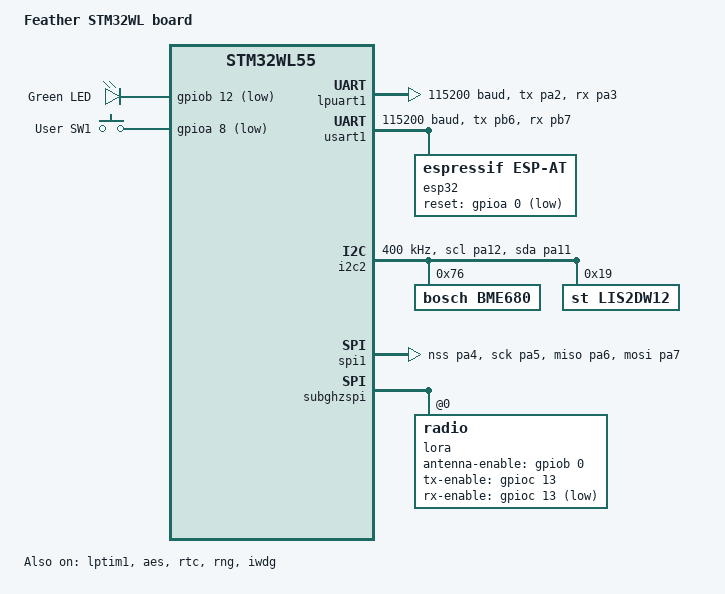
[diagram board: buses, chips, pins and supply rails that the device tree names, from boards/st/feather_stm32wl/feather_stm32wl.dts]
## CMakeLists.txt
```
cmake_minimum_required(VERSION 3.20.0)

find_package(Zephyr REQUIRED HINTS $ENV{ZEPHYR_BASE})
project(pico_lora)

# Specify the directory containing the source files
set(SOURCE_DIR "src")

set(SOURCES
    "${SOURCE_DIR}/main.c"
    "${SOURCE_DIR}/led.c"
    "${SOURCE_DIR}/lora.c"
    "${SOURCE_DIR}/mesh.c"
    "${SOURCE_DIR}/mesh_handlers.c"
    "${SOURCE_DIR}/mesh_utils.c"
    "${SOURCE_DIR}/packet.c"
    "${SOURCE_DIR}/ring_buffer.c"
    "${SOURCE_DIR}/sensor.c"
    "${SOURCE_DIR}/work_queue.c"
)

zephyr_include_directories(include)

target_sources(app PRIVATE ${SOURCES})
```

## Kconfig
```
# Kconfig for Application-Specific Settings

menu "Application Settings"

menu "LoRa Radio Configuration"

source "Kconfig.zephyr"

config APP_LORA_FREQUENCY
    int "LoRa Frequency (Hz)"
    default 915000000
    help
      Center frequency for LoRa communication in Hz.
      Common values: 915000000 (US), 868000000 (EU), 433000000.

config APP_LORA_BANDWIDTH
    int "LoRa Bandwidth"
    default 0 # BW_125_KHZ
    range 0 9
    help
      LoRa signal bandwidth. Refer to LoRa driver definitions:
      0: BW_125_KHZ, 1: BW_250_KHZ, 2: BW_500_KHZ, etc.
      (Check exact mapping in lorawan_radio.h or similar)

config APP_LORA_SPREADING_FACTOR
    int "LoRa Spreading Factor"
    default 7 # SF_7
    range 5 12
    help
      LoRa spreading factor (SF5 to SF12).
      Higher SF means longer range but lower data rate.
      (Check exact mapping for defines like SF_7 in LoRa driver)

config APP_LORA_CODING_RATE
    int "LoRa Coding Rate"
    default 1 # CR_4_5
    range 1 4
    help
      LoRa coding rate.
      1: CR_4_5, 2: CR_4_6, 3: CR_4_7, 4: CR_4_8.

config APP_LORA_PREAMBLE_LEN
    int "LoRa Preamble Length"
    default 8
    help
      Length of the LoRa preamble.

config APP_LORA_TX_POWER
    int "LoRa Transmit Power (dBm)"
    default 14 # Max for many modules, adjust as per hardware/regulations
    help
      Transmit power in dBm. Check hardware datasheet for valid range.
      A common default for SX127x is 14. 20 is often an absolute max.

config APP_LORA_IQ_INVERTED
    bool "LoRa IQ Inverted"
    default false
    help
      Set to true if IQ signals are inverted.

config APP_LORA_PUBLIC_NETWORK
    bool "LoRa Public Network"
    default false
    help
      Set to true if using a public LoRaWAN network (sync word).

endmenu # LoRa Radio Configuration

# Add other application Kconfig options here later (e.g., Mesh, Buffers)

endmenu # Application Settings
```

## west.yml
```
manifest:
  projects:
    - name: zephyr
      revision: v4.2.1
      url: https://github.com/zephyrproject-rtos/zephyr
      import:
        path-prefix: deps
        file: west.yml
        name-allowlist:
          - cmsis_6
          - hal_rpi_pico
          - hal_stm32
          - loramac-node
          - zcbor
```

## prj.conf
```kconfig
CONFIG_GPIO=y
CONFIG_I2C=y
CONFIG_SENSOR=y
CONFIG_LORA=y
CONFIG_SPI=y

CONFIG_LOG=y
CONFIG_LOG_PRINTK=y

CONFIG_RING_BUFFER=y
CONFIG_CBPRINTF_FP_SUPPORT=y

# Increase main thread stack size
CONFIG_MAIN_STACK_SIZE=4096

# Increase system workqueue stack size
CONFIG_SYSTEM_WORKQUEUE_STACK_SIZE=2048

# Application-specific LoRa Settings (defaults from Kconfig)
CONFIG_APP_LORA_FREQUENCY=915000000
CONFIG_APP_LORA_BANDWIDTH=0
CONFIG_APP_LORA_SPREADING_FACTOR=7
CONFIG_APP_LORA_CODING_RATE=1
CONFIG_APP_LORA_PREAMBLE_LEN=8
CONFIG_APP_LORA_TX_POWER=14
CONFIG_APP_LORA_IQ_INVERTED=n
CONFIG_APP_LORA_PUBLIC_NETWORK=n

CONFIG_HWINFO=y
```

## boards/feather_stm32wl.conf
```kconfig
CONFIG_SERIAL=y

#CONFIG_WIFI=y
#CONFIG_NETWORKING=y
#CONFIG_MAIN_STACK_SIZE=2048
#CONFIG_NET_TX_STACK_SIZE=1024
#CONFIG_NET_RX_STACK_SIZE=1024
#CONFIG_NET_PKT_RX_COUNT=4
#CONFIG_NET_PKT_TX_COUNT=4
#CONFIG_NET_BUF_RX_COUNT=8
#CONFIG_NET_BUF_TX_COUNT=8
#CONFIG_NET_MAX_CONTEXTS=2
#CONFIG_HTTP_CLIENT=y
#CONFIG_NET_DHCPV4=y
#CONFIG_NET_IPV4=y
#CONFIG_NET_IPV6=n
#CONFIG_NET_TCP=y
#CONFIG_NET_LOG=y              # Turn off for more RAM
#CONFIG_NET_SOCKETS=y
#CONFIG_INIT_STACKS=n          # Turn on only for debugging
#CONFIG_NET_MGMT_EVENT_QUEUE_TIMEOUT=5000
#CONFIG_NET_MGMT_EVENT_QUEUE_SIZE=4
```

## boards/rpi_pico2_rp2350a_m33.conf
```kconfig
CONFIG_USB_DEVICE_STACK=y
CONFIG_USB_CDC_ACM=y
CONFIG_USB_DEVICE_VID=0x2FE4
CONFIG_USB_DEVICE_PID=0x0110
CONFIG_USB_DEVICE_INITIALIZE_AT_BOOT=y
```

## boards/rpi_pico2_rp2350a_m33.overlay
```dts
/ {
	chosen {
        zephyr,console = &cdc_acm_uart0;
		zephyr,console-uart = &cdc_acm_uart0;
		zephyr,shell-uart = &cdc_acm_uart0;
	};
	aliases {
		lora0 = &lora;
	};
};

&spi0 {
	status = "okay";

	cs-gpios = <&gpio0 9 GPIO_ACTIVE_LOW>;
	lora: radio@0 {
		reg = <0>;
		compatible = "semtech,sx1276";
		reset-gpios = <&gpio0 10 GPIO_ACTIVE_LOW>;
		dio-gpios = <&gpio0 7 (GPIO_PULL_DOWN | GPIO_ACTIVE_HIGH)>;
		spi-max-frequency = <10000000>;
		power-amplifier-output = "pa-boost";
	};
};

&zephyr_udc0 {
	cdc_acm_uart0: cdc_acm_uart0 {
		compatible = "zephyr,cdc-acm-uart";
	};
};
```

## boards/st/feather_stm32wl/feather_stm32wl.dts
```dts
/*
 * Copyright (c) 2021 PureEngineering, LLC
 *
 */

/dts-v1/;
#include <st/wl/stm32wl55Xc.dtsi>
#include <st/wl/stm32wl55ccux-pinctrl.dtsi>
#include <zephyr/dt-bindings/input/input-event-codes.h>
#include <zephyr/dt-bindings/led/led.h>

/ {
	model = "Feather STM32WL board";
	compatible = "st,stm32wl55-nucleo";

	chosen {
		zephyr,console = &lpuart1;
		zephyr,shell-uart = &lpuart1;
		zephyr,sram = &sram0;
		zephyr,flash = &flash0;
		zephyr,code-partition = &slot0_partition;
	};

	aliases {
		led0 = &led0;
		mcuboot-button0 = &button1;
		mcuboot-led0 = &led0;
		lora0 = &lora;
		uart0 = &usart1;
	};

	leds {
		compatible = "gpio-leds";
		led0: led_0 {
			gpios = <&gpiob 12 GPIO_ACTIVE_LOW>;
			label = "Green LED";
		};
	};

	buttons {
		compatible = "gpio-keys";
		button1: button_1 {
			label = "User SW1";
			gpios = <&gpioa 8 (GPIO_PULL_UP | GPIO_ACTIVE_LOW)>;
			zephyr,code = <INPUT_KEY_0>;
		};
	};
};

&cpu0 {
	cpu-power-states = <&stop0 &stop1 &stop2>;
};

&clk_lsi {
	status = "okay";
};

stm32_lp_tick_source: &lptim1 {
	clocks = <&rcc STM32_CLOCK_BUS_APB1 0x80000000>,
			 <&rcc STM32_SRC_LSI LPTIM1_SEL(1)>;
	status = "okay";
};

&clk_lse {
	status = "okay";
};

&clk_hsi {
	status = "okay";
};

&pll {
	div-m = <1>;
	mul-n = <6>;
	div-r = <2>;
	div-q = <2>;
	clocks = <&clk_hsi>;
	status = "okay";
};

&rcc {
	clocks = <&pll>;
	clock-frequency = <DT_FREQ_M(48)>;
	cpu1-prescaler = <1>;
	cpu2-prescaler = <1>;
	ahb3-prescaler = <1>;
	apb1-prescaler = <1>;
	apb2-prescaler = <1>;
};

&lpuart1 {
	pinctrl-0 = <&lpuart1_tx_pa2 &lpuart1_rx_pa3>;
	pinctrl-names = "default";
	current-speed = <115200>;
	status = "okay";
};

&usart1 {
	pinctrl-0 = <&usart1_tx_pb6 &usart1_rx_pb7>;
	pinctrl-names = "default";
	current-speed = <115200>;
	status = "okay";

    esp32 {
        compatible = "espressif,esp-at";
        reset-gpios = <&gpioa 0 GPIO_ACTIVE_LOW>;
        status = "okay";
    };
};

&i2c2 {
	pinctrl-0 = <&i2c2_scl_pa12 &i2c2_sda_pa11>;
	pinctrl-names = "default";
	status = "okay";
	clock-frequency = <I2C_BITRATE_FAST>;

	bme680: bme680@76 {
		compatible = "bosch,bme680";
		reg = <0x76>;
		label = "BME680";
		status = "okay";
	};
	lis2dw12: lis2dw12@19 {
		compatible = "st,lis2dw12";
		reg = <0x19>;
		label = "LIS2DW12";
		status = "okay";
	};

};

&spi1 {
	pinctrl-0 = <&spi1_nss_pa4 &spi1_sck_pa5
		     &spi1_miso_pa6 &spi1_mosi_pa7>;
	pinctrl-names = "default";
	status = "okay";
};

// &adc1 {
// 	status = "okay";
// };

// &die_temp {
// 	status = "okay";
// };

&aes {
	status = "okay";
};

&rtc {
	clocks = <&rcc STM32_CLOCK_BUS_APB1 0x00000400>,
			 <&rcc STM32_SRC_LSE RTC_SEL(1)>;
	status = "okay";
};

&rng {
	status = "okay";
};

&iwdg {
	status = "okay";
};

&subghzspi {
	status = "okay";
	lora: radio@0 {
		status = "okay";
		antenna-enable-gpios = <&gpiob 0 GPIO_ACTIVE_HIGH>;
		tx-enable-gpios = <&gpioc 13 GPIO_ACTIVE_HIGH>;
		rx-enable-gpios = <&gpioc 13 GPIO_ACTIVE_LOW>;
		power-amplifier-output = "rfo-hp";
		rfo-lp-max-power = <14>;
		rfo-hp-max-power = <22>;
		// dio3-tcxo-voltage = <SX126X_DIO3_TCXO_1V7>;
		// tcxo-power-startup-delay-ms = <5>;
	};
};

&flash0 {
	/*
	 * For more information, see:
	 * http://docs.zephyrproject.org/latest/guides/dts/index.html#flash-partitions
	 */
	partitions {
		compatible = "fixed-partitions";
		#address-cells = <1>;
		#size-cells = <1>;

		/* Reserve 64kB for the bootloader */
		boot_partition: partition@0 {
			label = "mcuboot";
			reg = <0x00000000 DT_SIZE_K(48)>;
		};

		slot0_partition: partition@c000 {
			label = "image-0";
			reg = <0x0000C000 DT_SIZE_K(96)>;
		};

		slot1_partition: partition@24000 {
			label = "image-1";
			reg = <0x00024000 DT_SIZE_K(96)>;
		};

		storage_partition: partition@3C000 {
			label = "storage";
			reg = <0x0003C000 DT_SIZE_K(16)>;
		};
	};
};
```

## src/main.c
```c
/**
 * @file main.c
 * @brief Main application entry point for LoRa mesh network
 *
 * Initializes all subsystems and runs the main application loop
 * for sensor data collection and transmission.
 *
 * Copyright (c) 2024 Ryan Grachek
 */

#include <zephyr/kernel.h>
#include <zephyr/device.h>
#include <zephyr/sys/util.h>
 
#define LOG_LEVEL CONFIG_LOG_DEFAULT_LEVEL
#include <zephyr/logging/log.h>
LOG_MODULE_REGISTER(main);
 
#include <led.h>
#include <lora.h>
#include <mesh.h>
#include <packet.h>
#include <sensor.h>
#include <work_queue.h>
#include <zephyr/drivers/hwinfo.h>

/* External declaration for dynamic node address */
extern uint32_t node_address;

/**
 * @brief Application entry point
 *
 * Initializes all subsystems in the correct order.
 * Sensor broadcasting is handled by the work queue if sensors are detected.
 *
 * @return 0 on successful completion (should never return)
 */
int main(void)
{
    uint8_t device_id[8] = {0};

    LOG_INF("Welcome! %s", CONFIG_BOARD_TARGET);

    hwinfo_get_device_id(device_id, 8);

    /* Extract last 4 bytes of device ID for node address */
    node_address = (uint32_t)device_id[4] << 24 |
                   (uint32_t)device_id[5] << 16 |
                   (uint32_t)device_id[6] << 8  |
                   (uint32_t)device_id[7];
    
    /* Ensure node address is not zero (fallback for invalid device ID) */
    if (node_address == 0) {
        node_address = 1;
        LOG_WRN("Device ID produced zero node address, using fallback: 0x%08X", node_address);
    }
    
    LOG_INF("Node address: 0x%08X (from device ID last 4 bytes)", node_address);

    /* Initialize the consolidated work queue first */
    work_queue_init();
    LOG_INF("Work queue initialized");

    /* Initialize hardware and subsystems */
    int ret = led_init();
    if (ret != 0) {
        LOG_ERR("LED initialization failed: %d", ret);
        /* LED failure is not critical, continue */
    }
    
    /* Initialize sensors first to detect available hardware */
    sensor_init();
    
    /* Check if any sensors were detected */
    int sensor_available = sensor_count();
    if (sensor_available == 0) {
        LOG_WRN("No sensors detected. Skipping sensor loop.");
    } else {
        LOG_INF("Detected %d sensors", sensor_available);
    }

    /* Initialize communication subsystems - these are critical */
    ret = packet_init();
    if (ret != 0) {
        LOG_ERR("Packet processing initialization failed: %d", ret);
        return ret;
    }
    
    ret = lora_init();
    if (ret != 0) {
        LOG_ERR("LoRa radio initialization failed: %d", ret);
        return ret;
    }
    
    mesh_init();
    LOG_INF("Mesh network initialized with adaptive reliability-based routing");

    /* All work is now handled by the work queue system.
     * Sensor broadcasting is automatically scheduled if sensors are detected.
     * The main thread can sleep indefinitely. */
    LOG_INF("Initialization complete. All tasks running on work queue.");
    k_sleep(K_FOREVER);

    /* Should never reach here */
    return 0;
}
```

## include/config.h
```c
/**
 * @file config.h
 * @brief Configuration constants for LoRa mesh network
 *
 * Centralized configuration to eliminate magic numbers and improve
 * maintainability across the codebase.
 *
 * Copyright (c) 2024 Ryan Grachek
 */

#ifndef CONFIG_H
#define CONFIG_H

/* ========================================================================== */
/* MESH NETWORK CONFIGURATION                                                 */
/* ========================================================================== */

/** @brief Maximum number of neighbors that can be tracked */
#define MESH_MAX_NEIGHBORS 32

/** @brief Maximum number of routes that can be stored */
#define MESH_MAX_ROUTES 32

/** @brief Maximum number of pending packets waiting for acknowledgment */
#define MESH_MAX_PENDING_PACKETS 16

/** @brief Maximum time to live (TTL) for packets */
#define MESH_MAX_TTL 10

/** @brief Base time in milliseconds after which a neighbor is considered stale */
#define MESH_PRUNE_TIMEOUT_BASE_MS 60000

/** @brief Maximum time in milliseconds for neighbor pruning */
#define MESH_PRUNE_TIMEOUT_MAX_MS 120000

/** @brief Minimum time in milliseconds for neighbor pruning */
#define MESH_PRUNE_TIMEOUT_MIN_MS 30000

/** @brief RSSI threshold below which a neighbor is considered weak */
#define MESH_WEAK_NEIGHBOR_RSSI_THRESHOLD -100

/** @brief Factor to reduce pruning timeout for weak neighbors */
#define MESH_WEAK_NEIGHBOR_TIMEOUT_FACTOR 0.5f

/** @brief Factor to increase pruning timeout for strong neighbors */
#define MESH_STRONG_NEIGHBOR_TIMEOUT_FACTOR 1.5f

/* ========================================================================== */
/* DISCOVERY CONFIGURATION                                                    */
/* ========================================================================== */

/** @brief Base interval in seconds between neighbor discovery broadcasts */
#define MESH_DISCOVERY_INTERVAL_BASE_SEC 60

/** @brief Minimum interval in seconds between neighbor discovery broadcasts */
#define MESH_DISCOVERY_INTERVAL_MIN_SEC 30

/** @brief Maximum interval in seconds between neighbor discovery broadcasts */
#define MESH_DISCOVERY_INTERVAL_MAX_SEC 300

/** @brief Step size in seconds for increasing discovery interval */
#define MESH_DISCOVERY_INTERVAL_STEP_SEC 30

/** @brief Window in milliseconds to consider topology changes recent */
#define MESH_TOPOLOGY_CHANGE_WINDOW_MS 120000

/** @brief Initial delay in seconds before first discovery broadcast */
#define MESH_INITIAL_DISCOVERY_DELAY_SEC 10

/* ========================================================================== */
/* TIMING CONFIGURATION                                                       */
/* ========================================================================== */

/** @brief Interval in seconds between neighbor list display */
#define MESH_NEIGHBOR_LIST_INTERVAL_SEC 30

/** @brief Interval in seconds between neighbor list pruning */
#define MESH_PRUNE_INTERVAL_SEC 60

/** @brief Interval in seconds between route table pruning */
#define MESH_ROUTE_PRUNE_INTERVAL_SEC 120

/** @brief Interval in seconds between network statistics display */
#define MESH_STATS_DISPLAY_INTERVAL_SEC 60

/* ========================================================================== */
/* RELIABILITY CONFIGURATION                                                  */
/* ========================================================================== */

/** @brief Maximum number of retransmission attempts */
#define MESH_MAX_RETRANSMISSIONS 5

/** @brief Base timeout in milliseconds for acknowledgment */
#define MESH_ACK_TIMEOUT_BASE_MS 10000

/** @brief Maximum timeout in milliseconds for acknowledgment */
#define MESH_ACK_TIMEOUT_MAX_MS 30000

/** @brief Minimum timeout in milliseconds for acknowledgment */
#define MESH_ACK_TIMEOUT_MIN_MS 5000

/** @brief Interval in milliseconds between retransmission attempts */
#define MESH_RETRANSMISSION_INTERVAL_BASE_MS 1000

/** @brief Factor to increase timeout per hop count */
#define MESH_TIMEOUT_HOP_FACTOR_MS 500

/** @brief Time in milliseconds after which a route is considered stale */
#define MESH_ROUTE_TIMEOUT_MS 120000

/** @brief Hysteresis threshold for route quality changes to prevent flapping */
#define MESH_ROUTE_QUALITY_HYSTERESIS 5

/* ========================================================================== */
/* SENSOR CONFIGURATION                                                       */
/* ========================================================================== */

/** @brief Maximum number of sensors that can be registered */
#define SENSOR_MAX_DEVICES 5

/** @brief Maximum number of channels per sensor */
#define SENSOR_MAX_CHANNELS 6

/** @brief Maximum number of sensor readings in a single packet */
#define SENSOR_MAX_READINGS (SENSOR_MAX_DEVICES * SENSOR_MAX_CHANNELS)

/** @brief Interval in milliseconds between sensor data broadcasts */
#define SENSOR_BROADCAST_INTERVAL_MS 10000

/* ========================================================================== */
/* RADIO CONFIGURATION                                                        */
/* ========================================================================== */

/** @brief LED pulse duration in milliseconds for radio activity */
#define RADIO_LED_PULSE_DURATION_MS 50

/** @brief Delay in milliseconds for discovery replies to avoid collisions */
#define RADIO_DISCOVERY_REPLY_DELAY_BASE_MS 200

/** @brief Delay in milliseconds for ACK transmission to avoid collisions */
#define RADIO_ACK_DELAY_MS 50

/* ========================================================================== */
/* BUFFER CONFIGURATION                                                       */
/* ========================================================================== */

/** @brief Maximum number of packets to process in a single work item execution */
#define PACKET_MAX_BATCH_SIZE 5

/* ========================================================================== */
/* VALIDATION MACROS                                                          */
/* ========================================================================== */

/** @brief Validate that a pointer is not NULL */
#define VALIDATE_PTR(ptr) \
    do { if (!(ptr)) { LOG_ERR("NULL pointer: " #ptr); return -EINVAL; } } while(0)

/** @brief Validate that a value is within a specified range */
#define VALIDATE_RANGE(val, min, max) \
    do { if ((val) < (min) || (val) > (max)) { \
        LOG_ERR("Value out of range: " #val "=%d (expected %d-%d)", \
                (int)(val), (int)(min), (int)(max)); \
        return -EINVAL; \
    } } while(0)

/** @brief Validate that an address is not zero (invalid) */
#define VALIDATE_ADDRESS(addr) \
    do { if ((addr) == 0) { \
        LOG_ERR("Invalid address: " #addr "=0x%02X", (addr)); \
        return -EINVAL; \
    } } while(0)

/* ========================================================================== */
/* ERROR CODES                                                                */
/* ========================================================================== */

/** @brief Mesh-specific error codes */
typedef enum {
    MESH_OK = 0,                    /**< Operation successful */
    MESH_ERR_INVALID_PARAM = -1,    /**< Invalid parameter */
    MESH_ERR_NO_MEMORY = -2,        /**< Out of memory */
    MESH_ERR_NO_ROUTE = -3,         /**< No route to destination */
    MESH_ERR_TIMEOUT = -4,          /**< Operation timed out */
    MESH_ERR_BUFFER_FULL = -5,      /**< Buffer is full */
    MESH_ERR_NOT_FOUND = -6,        /**< Item not found */
    MESH_ERR_INVALID_STATE = -7     /**< Invalid state for operation */
} mesh_error_t;

#endif /* CONFIG_H */
```

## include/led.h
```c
/**
 * @file led.h
 * @brief LED control interface for activity indication
 *
 * This module provides functions to control an LED for indicating
 * system activity, such as packet transmission/reception.
 *
 * Copyright (c) 2024 Ryan Grachek
 */

#ifndef LED_H
#define LED_H
 
#include <zephyr/drivers/gpio.h>

/**
 * @brief Initialize the LED subsystem
 *
 * Configures the GPIO pin for the LED and initializes
 * the work item for delayed LED control.
 *
 * @return 0 on success, negative errno code on failure
 */
int led_init(void);

/**
 * @brief Toggle the LED state
 *
 * Switches the LED from on to off or off to on.
 */
void led_toggle(void);

/**
 * @brief Turn the LED on
 *
 * Turns the LED on and cancels any pending automatic off.
 */
void led_on(void);

/**
 * @brief Turn the LED off
 *
 * Turns the LED off and cancels any pending automatic off.
 */
void led_off(void);

/**
 * @brief Pulse the LED for the default duration
 *
 * Turns the LED on and schedules it to turn off after
 * the default pulse duration (typically 50ms).
 */
void led_pulse(void);

/**
 * @brief Pulse the LED for a specified duration
 *
 * Turns the LED on and schedules it to turn off after
 * the specified duration.
 *
 * @param ms Duration in milliseconds to keep the LED on
 */
void led_pulse_ms(uint32_t ms);
 
#endif /* LED_H */
```

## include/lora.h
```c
/**
 * @file lora.h
 * @brief LoRa radio interface for mesh network communication
 *
 * This module provides functions to initialize and control the LoRa radio
 * for transmitting and receiving packets in the mesh network.
 *
 * Copyright (c) 2024 Ryan Grachek
 */

#ifndef LORA_H
#define LORA_H
 
#include <zephyr/drivers/lora.h>
#include <zephyr/sys/atomic.h>
#include <packet.h>

// TX_POWER and SPREAD_FACTOR will now be sourced from Kconfig options
// (CONFIG_APP_LORA_TX_POWER and CONFIG_APP_LORA_SPREADING_FACTOR)
// and used directly in lora.c

/**
 * @brief Dynamic node address derived from device ID
 * 
 * The node address is dynamically generated from the last 4 bytes
 * of the device's unique hardware ID to ensure each device has
 * a unique address in the mesh network.
 */
extern uint32_t node_address;

/**
 * @brief Macro for backward compatibility
 * 
 * This macro allows existing code to continue using NODE_ADDRESS
 * while actually referencing the dynamic node_address variable.
 */
#define NODE_ADDRESS node_address

/**
 * @brief Counter for dropped packets due to buffer overflow
 */
extern atomic_t drop_pkt;

/**
 * @brief Initialize the LoRa radio
 *
 * Configures the LoRa radio with default settings and
 * sets up the work queue for asynchronous transmission.
 *
 * @return 0 on success, negative errno code on failure
 */
int lora_init(void);

/**
 * @brief Transmit a packet over LoRa
 *
 * Queues a packet for transmission over the LoRa radio.
 * The transmission is handled asynchronously by a work queue.
 *
 * @param buf Pointer to the packet buffer
 * @param size Size of the packet in bytes
 */
void lora_tx(uint8_t *buf, uint8_t size);

/**
 * @brief Configure the LoRa radio for TX or RX
 *
 * Sets the LoRa radio parameters for either transmission or reception.
 *
 * @param tx True for TX mode, false for RX mode
 * @return 0 on success, negative errno code on failure
 */
int lora_radio_config(bool tx);
 
#endif /* LORA_H */
```

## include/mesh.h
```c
/**
 * @file mesh.h
 * @brief Mesh network management for LoRa communication
 *
 * This module handles mesh network functionality including node discovery,
 * neighbor management, and routing of messages between nodes. Supports
 * multi-hop message routing and reliable delivery with adaptive timeouts
 * and reliability-based route selection.
 *
 * Copyright (c) 2024 Ryan Grachek
 */

#ifndef MESH_H
#define MESH_H
 
#include <stdint.h>

/**
 * @brief Initialize the mesh network module
 *
 * Sets up the necessary work items for periodic mesh operations
 * such as neighbor discovery, maintenance, and pruning.
 */
void mesh_init(void);

/**
 * @brief Process a received mesh packet
 *
 * Handles different types of mesh packets (discovery, reply, data, etc.)
 * and updates the neighbor list accordingly. Implements multi-hop routing
 * for packets that need to be forwarded.
 *
 * @param buf Pointer to the packet buffer (including header)
 */
void mesh_process(uint8_t *buf);

/**
 * @brief Send a data packet through the mesh network
 *
 * Sends a data packet to a destination node, using multi-hop routing
 * if the destination is not a direct neighbor.
 *
 * @param dst Final destination node address
 * @param data Pointer to the data to send
 * @param len Length of the data in bytes
 * @return 0 on success, negative errno code on failure
 */
int mesh_send_data(uint32_t dst, const uint8_t *data, size_t len);

/**
 * @brief Send a broadcast data packet through the mesh network
 *
 * Sends a broadcast data packet to all neighbors in a single transmission.
 * Each neighbor that receives the packet will send an ACK back to the source.
 * This is more efficient than sending individual packets to each neighbor.
 *
 * @param data Pointer to the data to send
 * @param len Length of the data in bytes
 * @return 0 on success, negative errno code on failure
 */
int mesh_send_broadcast(const uint8_t *data, size_t len);

/**
 * @brief Find the best next hop for a destination
 *
 * Determines the best next hop to reach a destination node
 * based on the current routing information, signal quality,
 * and neighbor reliability metrics. Routes are scored based
 * on a combination of signal strength, reliability, and hop count.
 *
 * @param dst Destination node address
 * @return Next hop node address, or 0 if no route is available
 */
uint32_t mesh_find_next_hop(uint32_t dst);

/**
 * @brief Send an acknowledgment for a received packet
 *
 * Sends an acknowledgment packet back to the source of a received packet.
 *
 * @param orig_src Original source of the packet to acknowledge
 * @param seq Sequence number of the packet to acknowledge
 */
void mesh_send_ack(uint32_t orig_src, uint8_t seq);

/**
 * @brief Add a new neighbor or update an existing one
 *
 * Adds a new node to the neighbor list or updates its information
 * if it already exists. For new neighbors, initializes reliability
 * metrics (packet count, failed count, and reliability score) used
 * for adaptive timeout calculation and route selection.
 *
 * @param address Node address to add or update
 * @param rssi Signal strength of the received packet
 * @return Pointer to the neighbor structure, or NULL if failed
 */
struct neighbor *add_or_update_neighbor(uint32_t address, int16_t rssi);

/**
 * @brief Update the last seen timestamp and reliability metrics for a neighbor
 *
 * Updates the last seen timestamp for an existing neighbor to prevent it
 * from being pruned during maintenance. Also updates packet count and
 * reliability metrics used for adaptive timeout calculation and route selection.
 *
 * @param address Node address to update
 * @param rssi Signal strength of the received packet
 */
void update_neighbor_last_seen(uint32_t address, int16_t rssi);

#endif /* MESH_H */
```

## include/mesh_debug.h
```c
/**
 * @file mesh_debug.h
 * @brief Debugging and monitoring tools for mesh network
 *
 * This module provides comprehensive debugging, monitoring, and
 * profiling capabilities for the mesh network system.
 *
 * Copyright (c) 2024 Ryan Grachek
 */

#ifndef MESH_DEBUG_H
#define MESH_DEBUG_H

#include <stdint.h>
#include <stdbool.h>
#include <packet.h>
#include <config.h>

/**
 * @brief Debug configuration flags
 */
#ifdef CONFIG_MESH_DEBUG
#define MESH_DEBUG_PACKET_TRACE 1
#define MESH_DEBUG_NEIGHBOR_CHANGES 1
#define MESH_DEBUG_ROUTE_CHANGES 1
#define MESH_DEBUG_PERFORMANCE_STATS 1
#else
#define MESH_DEBUG_PACKET_TRACE 0
#define MESH_DEBUG_NEIGHBOR_CHANGES 0
#define MESH_DEBUG_ROUTE_CHANGES 0
#define MESH_DEBUG_PERFORMANCE_STATS 0
#endif

/**
 * @brief Performance profiling structure
 */
typedef struct {
    /* Timing measurements */
    uint32_t packet_process_time_avg_us;  /**< Average packet processing time */
    uint32_t neighbor_lookup_time_avg_us; /**< Average neighbor lookup time */
    uint32_t route_lookup_time_avg_us;    /**< Average route lookup time */
    
    /* Memory usage */
    uint32_t neighbor_memory_used;        /**< Memory used by neighbor table */
    uint32_t route_memory_used;           /**< Memory used by routing table */
    uint32_t pending_memory_used;         /**< Memory used by pending packets */
    
    /* Performance counters */
    uint32_t neighbor_lookup_count;       /**< Number of neighbor lookups */
    uint32_t route_lookup_count;          /**< Number of route lookups */
    uint32_t packet_process_count;        /**< Number of packets processed */
    
    /* System health indicators */
    uint32_t mutex_contention_count;      /**< Number of mutex contentions */
    uint32_t memory_allocation_failures;  /**< Number of failed allocations */
    uint32_t work_queue_overruns;         /**< Number of work queue overruns */
} mesh_performance_t;

/**
 * @brief Initialize debugging and monitoring system
 */
void mesh_debug_init(void);

/**
 * @brief Dump neighbor table for debugging
 *
 * Prints detailed information about all neighbors including
 * signal quality, reliability metrics, and timing information.
 */
void debug_dump_neighbor_table(void);

/**
 * @brief Dump routing table for debugging
 *
 * Prints detailed information about all routes including
 * hop counts, quality metrics, and age information.
 */
void debug_dump_route_table(void);

/**
 * @brief Dump pending packet list for debugging
 *
 * Prints information about all pending packets waiting
 * for acknowledgment, including retry counts and timeouts.
 */
void debug_dump_pending_packets(void);

/**
 * @brief Trace packet flow through the system
 *
 * Logs packet movement through different stages of processing
 * for debugging network behavior.
 *
 * @param hdr Pointer to packet header
 * @param stage Description of processing stage
 */
void debug_trace_packet_flow(const hdr_t *hdr, const char *stage);

/**
 * @brief Log neighbor changes for debugging
 *
 * Tracks and logs neighbor additions, updates, and removals
 * to help debug network topology changes.
 *
 * @param address Neighbor address
 * @param action Description of the action (added, updated, removed)
 * @param rssi Signal strength
 */
void debug_log_neighbor_change(uint8_t address, const char *action, int16_t rssi);

/**
 * @brief Log route changes for debugging
 *
 * Tracks and logs route additions, updates, and removals
 * to help debug routing behavior.
 *
 * @param dst Destination address
 * @param next_hop Next hop address
 * @param action Description of the action
 * @param quality Route quality metric
 */
void debug_log_route_change(uint8_t dst, uint8_t next_hop, const char *action, int16_t quality);

/**
 * @brief Get current performance statistics
 *
 * Returns current performance metrics for monitoring
 * and optimization purposes.
 *
 * @param perf Pointer to performance structure to fill
 * @return 0 on success, negative error code on failure
 */
int debug_get_performance_stats(mesh_performance_t *perf);

/**
 * @brief Start timing measurement
 *
 * Begins timing measurement for performance profiling.
 * Use with debug_end_timing() to measure operation duration.
 *
 * @return Start timestamp
 */
static inline int64_t debug_start_timing(void) {
    return k_uptime_get();
}

/**
 * @brief End timing measurement and log result
 *
 * Ends timing measurement and logs the result if debugging is enabled.
 *
 * @param start_time Start timestamp from debug_start_timing()
 * @param operation_name Name of the operation being timed
 * @return Duration in microseconds
 */
uint32_t debug_end_timing(int64_t start_time, const char *operation_name);

/**
 * @brief Check system health and log warnings
 *
 * Monitors system health indicators and logs warnings
 * when thresholds are exceeded.
 */
void debug_check_system_health(void);

/**
 * @brief Reset performance counters
 *
 * Resets all performance counters and statistics to zero.
 * Useful for benchmarking specific scenarios.
 */
void debug_reset_performance_counters(void);

/**
 * @brief Validate system invariants
 *
 * Checks critical system invariants and logs errors
 * if any are violated. Helps detect corruption or bugs.
 *
 * @return true if all invariants are valid, false otherwise
 */
bool debug_validate_system_invariants(void);

/**
 * @brief Generate comprehensive system report
 *
 * Creates a detailed report of system state including
 * neighbor table, routing table, statistics, and health indicators.
 */
void debug_generate_system_report(void);

/**
 * @brief Debug assertion macro
 *
 * Logs assertion failures and optionally triggers system reset
 * in debug builds.
 */
#ifdef CONFIG_MESH_DEBUG
#define MESH_ASSERT(condition, msg) \
    do { if (!(condition)) { \
        LOG_ERR("ASSERTION FAILED in %s:%d: " msg, __FILE__, __LINE__); \
        debug_generate_system_report(); \
        /* Could trigger reset in production */ \
    } } while(0)
#else
#define MESH_ASSERT(condition, msg) do { } while(0)
#endif

/**
 * @brief Debug trace macro for packet flow
 */
#if MESH_DEBUG_PACKET_TRACE
#define DEBUG_TRACE_PACKET(hdr, stage) debug_trace_packet_flow(hdr, stage)
#else
#define DEBUG_TRACE_PACKET(hdr, stage) do { } while(0)
#endif

/**
 * @brief Debug log macro for neighbor changes
 */
#if MESH_DEBUG_NEIGHBOR_CHANGES
#define DEBUG_LOG_NEIGHBOR(addr, action, rssi) debug_log_neighbor_change(addr, action, rssi)
#else
#define DEBUG_LOG_NEIGHBOR(addr, action, rssi) do { } while(0)
#endif

/**
 * @brief Debug log macro for route changes
 */
#if MESH_DEBUG_ROUTE_CHANGES
#define DEBUG_LOG_ROUTE(dst, next_hop, action, quality) debug_log_route_change(dst, next_hop, action, quality)
#else
#define DEBUG_LOG_ROUTE(dst, next_hop, action, quality) do { } while(0)
#endif

#endif /* MESH_DEBUG_H */
```

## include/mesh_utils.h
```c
/**
 * @file mesh_utils.h
 * @brief Utility functions for mesh network operations
 *
 * This module provides common utility functions used across the mesh
 * network implementation to reduce code duplication and improve
 * maintainability.
 *
 * Copyright (c) 2024 Ryan Grachek
 */

#ifndef MESH_UTILS_H
#define MESH_UTILS_H

#include <stdint.h>
#include <stdbool.h>
#include <packet.h>
#include <config.h>

/**
 * @brief Check if an address is valid (non-zero)
 *
 * @param addr Address to validate
 * @return true if address is valid, false otherwise
 */
static inline bool is_valid_address(uint8_t addr) {
    return addr != 0;
}

/**
 * @brief Check if a packet is destined for this node
 *
 * @param hdr Pointer to packet header
 * @return true if packet is for this node, false otherwise
 */
bool is_packet_for_us(const hdr_t *hdr);

/**
 * @brief Calculate adaptive timeout based on reliability and hop count
 *
 * @param reliability Neighbor reliability score (0-100)
 * @param hop_count Number of hops to destination
 * @return Calculated timeout in milliseconds
 */
uint32_t calculate_adaptive_timeout(uint8_t reliability, uint8_t hop_count);

/**
 * @brief Log packet information for debugging
 *
 * @param prefix Prefix string for the log message
 * @param hdr Pointer to packet header
 */
void log_packet_info(const char *prefix, const hdr_t *hdr);

/**
 * @brief Calculate hash value for neighbor address
 *
 * Simple hash function for distributing neighbors across hash table.
 *
 * @param addr Node address to hash
 * @return Hash value (0 to MESH_NEIGHBOR_HASH_SIZE-1)
 */
static inline uint8_t neighbor_hash_func(uint8_t addr) {
    return addr % MESH_MAX_NEIGHBORS;
}

/**
 * @brief Calculate hash value for route destination
 *
 * Simple hash function for distributing routes across hash table.
 *
 * @param dst Destination address to hash
 * @return Hash value (0 to MESH_ROUTE_HASH_SIZE-1)
 */
static inline uint8_t route_hash_func(uint8_t dst) {
    return dst % MESH_MAX_ROUTES;
}

/**
 * @brief Validate mesh packet structure
 *
 * Performs basic validation of mesh packet headers and payload.
 *
 * @param buf Pointer to packet buffer
 * @param size Size of the packet buffer
 * @return MESH_OK on success, negative error code on failure
 */
mesh_error_t validate_mesh_packet(const uint8_t *buf, size_t size);

/**
 * @brief Get mesh packet type safely
 *
 * Extracts mesh packet type with bounds checking.
 *
 * @param buf Pointer to packet buffer
 * @return Mesh packet type, or MESH_MAX on error
 */
uint8_t get_mesh_type(const uint8_t *buf);

/**
 * @brief Calculate route quality score
 *
 * Combines RSSI, reliability, and hop count into a single score.
 *
 * @param rssi Signal strength
 * @param reliability Neighbor reliability (0-100)
 * @param hop_count Number of hops
 * @return Route quality score (higher is better)
 */
int32_t calculate_route_score(int16_t rssi, uint8_t reliability, uint8_t hop_count);

/**
 * @brief Add jitter to timeout value
 *
 * Adds random jitter to prevent synchronized retransmissions.
 *
 * @param base_timeout Base timeout value in milliseconds
 * @param jitter_percent Jitter percentage (0-100)
 * @return Timeout with jitter applied
 */
uint32_t add_timeout_jitter(uint32_t base_timeout, uint8_t jitter_percent);

/**
 * @brief Check if two timestamps indicate a recent change
 *
 * @param current_time Current timestamp
 * @param last_change Timestamp of last change
 * @param window_ms Time window in milliseconds
 * @return true if change was recent, false otherwise
 */
static inline bool is_recent_change(int64_t current_time, int64_t last_change, uint32_t window_ms) {
    return (current_time - last_change) < window_ms;
}

/**
 * @brief Clamp a value between minimum and maximum bounds
 *
 * @param value Value to clamp
 * @param min_val Minimum allowed value
 * @param max_val Maximum allowed value
 * @return Clamped value
 */
static inline uint32_t clamp_value(uint32_t value, uint32_t min_val, uint32_t max_val) {
    if (value < min_val) return min_val;
    if (value > max_val) return max_val;
    return value;
}

#endif /* MESH_UTILS_H */
```

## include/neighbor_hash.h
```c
/**
 * @file neighbor_hash.h
 * @brief Hash table implementation for efficient neighbor lookup
 *
 * This module provides O(1) average-case neighbor lookup performance
 * to replace the O(n) linear search as networks grow larger.
 *
 * Copyright (c) 2024 Ryan Grachek
 */

#ifndef NEIGHBOR_HASH_H
#define NEIGHBOR_HASH_H

#include <stdint.h>
#include <stdbool.h>
#include <config.h>

/**
 * @brief Hash table size for neighbor lookups
 * Should be a power of 2 for efficient modulo operations
 */
#define NEIGHBOR_HASH_SIZE 32

/**
 * @brief Forward declaration of neighbor structure
 */
typedef struct neighbor neighbor_t;

/**
 * @brief Initialize the neighbor hash table
 *
 * Sets up the hash table for efficient neighbor lookups.
 * Must be called before any hash table operations.
 */
void neighbor_hash_init(void);

/**
 * @brief Add a neighbor to the hash table
 *
 * Adds a neighbor to both the linked list and hash table
 * for efficient access.
 *
 * @param neighbor Pointer to the neighbor to add
 * @return 0 on success, negative error code on failure
 */
int neighbor_hash_add(neighbor_t *neighbor);

/**
 * @brief Remove a neighbor from the hash table
 *
 * Removes a neighbor from both the linked list and hash table.
 *
 * @param address Address of the neighbor to remove
 * @return Pointer to removed neighbor, or NULL if not found
 */
neighbor_t *neighbor_hash_remove(uint8_t address);

/**
 * @brief Find a neighbor in the hash table
 *
 * Efficiently finds a neighbor using hash table lookup.
 *
 * @param address Address of the neighbor to find
 * @return Pointer to neighbor, or NULL if not found
 */
neighbor_t *neighbor_hash_find(uint8_t address);

/**
 * @brief Update a neighbor's hash table entry
 *
 * Updates the hash table when neighbor information changes.
 * Handles cases where the neighbor might need to be moved
 * to a different hash bucket.
 *
 * @param neighbor Pointer to the updated neighbor
 * @return 0 on success, negative error code on failure
 */
int neighbor_hash_update(neighbor_t *neighbor);

/**
 * @brief Clear all entries from the hash table
 *
 * Removes all neighbors from the hash table and linked list.
 * Used for cleanup and testing purposes.
 */
void neighbor_hash_clear(void);

/**
 * @brief Get hash table statistics
 *
 * Returns information about hash table performance for debugging.
 *
 * @param total_neighbors Total number of neighbors in table
 * @param max_chain_length Longest chain in any bucket
 * @param empty_buckets Number of empty hash buckets
 */
void neighbor_hash_stats(uint32_t *total_neighbors, uint32_t *max_chain_length, uint32_t *empty_buckets);

/**
 * @brief Calculate hash value for an address
 *
 * Simple hash function optimized for uniform distribution
 * of neighbor addresses.
 *
 * @param address Node address to hash
 * @return Hash value (0 to NEIGHBOR_HASH_SIZE-1)
 */
static inline uint8_t neighbor_hash_func(uint8_t address) {
    /* Simple hash using multiplication and bit shifting for better distribution */
    return (address * 31) % NEIGHBOR_HASH_SIZE;
}

#endif /* NEIGHBOR_HASH_H */
```

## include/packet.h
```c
/**
 * @file packet.h
 * @brief Packet handling for LoRa mesh network communication
 *
 * This module defines the packet structure and types used for communication
 * between nodes in the LoRa mesh network. It handles packet processing,
 * including receiving, parsing, and dispatching to appropriate handlers.
 *
 * Copyright (c) 2024 Ryan Grachek
 */

#ifndef PACKET_H
#define PACKET_H

#include <zephyr/kernel.h>
#include <zephyr/sys/ring_buffer.h>
#include <stdint.h>
#include <sensor.h>

/**
 * @brief Maximum packet length in bytes
 * 
 * This defines the maximum size of a packet that can be transmitted or received.
 * Limited by LoRa radio capabilities.
 */
#define MAX_PACKET_LEN  255

/**
 * @brief Size of receive buffer in bytes
 */
#define RX_BUF_LEN 2048

/**
 * @brief Size of transmit buffer in bytes
 */
#define TX_BUF_LEN 2048

/**
 * @brief Work queue for packet processing
 * 
 * This work queue is used to process packets asynchronously
 * to avoid blocking the main thread or interrupt handlers.
 */
extern struct k_work_q packet_work_q;

/**
 * @brief Work item for packet processing
 * 
 * This work item is submitted to the packet_work_q when
 * new packets are available for processing.
 */
extern struct k_work packet_process_work;

/**
 * @brief Initialize the packet processing module
 *
 * Sets up the work queue and work item for packet processing.
 *
 * @return 0 on success, negative errno code on failure
 */
int packet_init(void);

/**
 * @brief Packet type enumeration
 * 
 * Defines the different types of packets that can be sent/received
 * in the mesh network.
 */
typedef enum {
    TYPE_SENSOR, /**< Sensor data packet */
    TYPE_FOTA,   /**< Firmware update packet */
    TYPE_MESH,   /**< Mesh network management packet */
    TYPE_MAX     /**< Maximum packet type value (for validation) */
} packet_type_t;

/**
 * @brief Mesh packet subtype enumeration
 * 
 * Defines the different types of mesh management packets.
 */
typedef enum {
    MESH_DISCOVER,   /**< Node discovery request */
    MESH_REPLY,      /**< Response to discovery request */
    MESH_DATA,       /**< Data packet to be routed */
    MESH_ACK,        /**< Acknowledgment of received packet */
    MESH_BROADCAST,  /**< Broadcast data packet */
    MESH_ROUTE_REQ,  /**< Route request */
    MESH_ROUTE_RESP, /**< Route response */
    MESH_MAX         /**< Maximum mesh type value (for validation) */
} mesh_type_t;

/**
 * @brief Mesh packet payload structure
 */
typedef struct {
    uint8_t type;       /**< Mesh packet subtype (mesh_type_t) */
    uint8_t seq;        /**< Sequence number for packet tracking */
    uint32_t orig_src;  /**< Original source address (for multi-hop) */
    uint32_t final_dst; /**< Final destination address (for multi-hop) */
    uint8_t ttl;        /**< Time to live (hop limit) */
    uint8_t payload[0]; /**< Variable-length payload */
} __attribute__ ((packed)) mesh_t;

/**
 * @brief Sensor data payload structure
 */
typedef struct {
    uint8_t chan;  /**< Sensor channel identifier */
    float value;  /**< Sensor reading value */
} __attribute__ ((packed)) sensor_t;

/**
 * @brief Packet header structure
 * 
 * This structure is prepended to all packets for routing and identification.
 */
typedef struct {
    uint16_t size;     /**< Total packet size in bytes (including header) */
    uint8_t type;      /**< Packet type (packet_type_t) */
    uint32_t src;      /**< Source node address (current hop) */
    uint32_t dst;      /**< Destination node address (next hop, 0 for broadcast) */
    uint16_t seq_num;  /**< Sequence number for packet tracking */
    uint8_t hop_count; /**< Number of hops traversed */
    int16_t rssi;      /**< Received signal strength indicator (dBm) */
    int8_t snr;        /**< Signal-to-noise ratio (dB) */
} __attribute__ ((packed)) hdr_t;

#endif /* PACKET_H */
```

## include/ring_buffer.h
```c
/**
 * @file ring_buffer.h
 * @brief Thread-safe ring buffer implementation for packet queuing
 *
 * This module provides separate ring buffers for RX and TX operations,
 * with thread-safe access through mutex protection.
 *
 * Copyright (c) 2024 Ryan Grachek
 */

#ifndef RING_BUFFER_H
#define RING_BUFFER_H

#include <zephyr/kernel.h>
#include <zephyr/sys/ring_buffer.h>
#include <zephyr/sys/atomic.h>

/**
 * @brief Read data from the RX ring buffer
 *
 * Thread-safe function to read data from the RX ring buffer.
 * The data is removed from the buffer after reading.
 *
 * @param data Pointer to the buffer where data will be stored
 * @param len Maximum number of bytes to read
 * @return Number of bytes actually read, or negative error code
 */
uint32_t rb_read_rx(uint8_t *data, size_t len);

/**
 * @brief Write data to the RX ring buffer
 *
 * Thread-safe function to write data to the RX ring buffer.
 *
 * @param data Pointer to the data to write
 * @param len Number of bytes to write
 * @return Number of bytes actually written
 */
int rb_write_rx(const uint8_t *data, size_t len);

/**
 * @brief Peek data from the RX ring buffer without removing it
 *
 * Thread-safe function to read data from the RX ring buffer
 * without removing it from the buffer.
 *
 * @param data Pointer to the buffer where data will be stored
 * @param len Maximum number of bytes to peek
 * @return Number of bytes actually peeked, or negative error code
 */
uint32_t rb_peek_rx(uint8_t *data, size_t len);

/**
 * @brief Get the number of bytes used in the RX ring buffer
 *
 * Thread-safe function to get the number of bytes currently
 * stored in the RX ring buffer.
 *
 * @return Number of bytes used
 */
size_t rb_size_get_rx(void);

/**
 * @brief Get the amount of free space in the RX ring buffer
 *
 * Thread-safe function to get the number of bytes that can
 * still be written to the RX ring buffer.
 *
 * @return Number of bytes available
 */
size_t rb_space_get_rx(void);

/**
 * @brief Read data from the TX ring buffer
 *
 * Thread-safe function to read data from the TX ring buffer.
 * The data is removed from the buffer after reading.
 *
 * @param data Pointer to the buffer where data will be stored
 * @param len Maximum number of bytes to read
 * @return Number of bytes actually read, or negative error code
 */
uint32_t rb_read_tx(uint8_t *data, size_t len);

/**
 * @brief Write data to the TX ring buffer
 *
 * Thread-safe function to write data to the TX ring buffer.
 *
 * @param data Pointer to the data to write
 * @param len Number of bytes to write
 * @return Number of bytes actually written
 */
int rb_write_tx(const uint8_t *data, size_t len);

/**
 * @brief Peek data from the TX ring buffer without removing it
 *
 * Thread-safe function to read data from the TX ring buffer
 * without removing it from the buffer.
 *
 * @param data Pointer to the buffer where data will be stored
 * @param len Maximum number of bytes to peek
 * @return Number of bytes actually peeked, or negative error code
 */
uint32_t rb_peek_tx(uint8_t *data, size_t len);

/**
 * @brief Get the number of bytes used in the TX ring buffer
 *
 * Thread-safe function to get the number of bytes currently
 * stored in the TX ring buffer.
 *
 * @return Number of bytes used
 */
size_t rb_size_get_tx(void);

/**
 * @brief Get the amount of free space in the TX ring buffer
 *
 * Thread-safe function to get the number of bytes that can
 * still be written to the TX ring buffer.
 *
 * @return Number of bytes available
 */
size_t rb_space_get_tx(void);

#endif /* RING_BUFFER_H */
```

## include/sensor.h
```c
/**
 * @file sensor.h
 * @brief Sensor management for data collection and transmission
 *
 * This module handles sensor detection, data collection, and transmission
 * of sensor readings over the LoRa mesh network.
 *
 * Copyright (c) 2024 Ryan Grachek
 */

#ifndef SENSOR_H
#define SENSOR_H
 
#include <zephyr/drivers/sensor.h>
#include <packet.h>

/**
 * @brief Initialize the sensor subsystem
 *
 * Detects and registers all compatible sensors connected to the device.
 */
void sensor_init(void);

/**
 * @brief Broadcast sensor readings over the mesh network
 *
 * Collects readings from all registered sensors and sends them
 * using the mesh network's reliable delivery mechanism. This leverages
 * multi-hop routing, acknowledgments, and retransmissions for more
 * reliable sensor data delivery.
 */
void sensor_broadcast(void);

/**
 * @brief Process a received sensor packet
 *
 * Parses and displays sensor readings received from another node.
 *
 * @param buf Pointer to the packet buffer (including header)
 */
void sensor_process(uint8_t *buf);

/**
 * @brief Get the number of registered sensors
 *
 * @return Number of sensors that were successfully registered
 */
int sensor_count(void);
 
#endif /* SENSOR_H */
```
